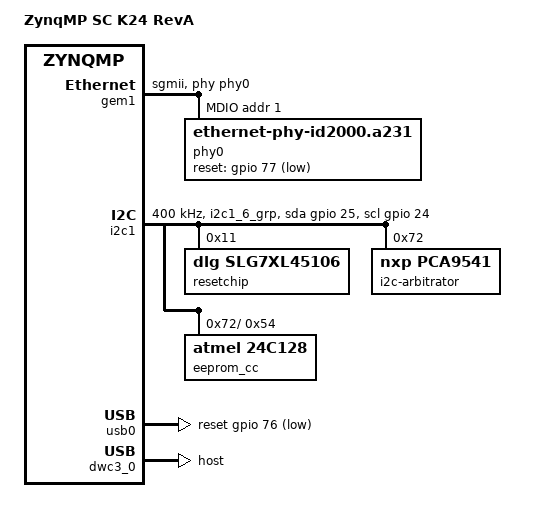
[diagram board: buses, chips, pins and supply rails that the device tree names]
// SPDX-License-Identifier: GPL-2.0
/*
 * dts file for Xilinx ZynqMP SC k24 RevA
 *
 * (C) Copyright 2020 - 2021, Xilinx, Inc.
 * (C) Copyright 2023 - 2024, Advanced Micro Devices, Inc.
 *
 * Michal Simek <michal.simek@amd.com>
 */

#include <dt-bindings/net/ti-dp83867.h>
#include "zynqmp-sm-k24-revA.dts"

/delete-node/ &optee;
/delete-node/ &eeprom_cc;

/ {
	model = "ZynqMP SC K24 RevA";
	compatible = "xlnx,zynqmp-sc-k24-revA", "xlnx,zynqmp-sc-k24",
		     "xlnx,zynqmp";

	aliases {
		nvmem1 = &eeprom_cc;
	};
};

&pwm_fan {
	pwms = <&ttc0 0 40000 0>;
};

&gem1 { /* MDIO MIO50/51 */
	status = "okay";
	phy-mode = "sgmii";
	phy-handle = <&phy0>;

	mdio: mdio {
		#address-cells = <1>;
		#size-cells = <0>;

		phy0: ethernet-phy@1 {
			#phy-cells = <1>;
			compatible = "ethernet-phy-id2000.a231";
			reg = <1>;
			ti,dp83867-rxctrl-strap-quirk;
			reset-gpios = <&gpio 77 GPIO_ACTIVE_LOW>;
			reset-assert-us = <2500>;
			reset-deassert-us = <500>;
		};
	};
};

/* i2c via PL */
/* u192 0x10 SLG7XL46528 */
/* u195 0x69 SIT95211 */

&i2c1 {
	status = "okay";
	bootph-all;
	clock-frequency = <400000>;
	pinctrl-names = "default", "gpio";
	pinctrl-0 = <&pinctrl_i2c1_default>;
	pinctrl-1 = <&pinctrl_i2c1_gpio>;
	scl-gpios = <&gpio 24 (GPIO_ACTIVE_HIGH | GPIO_OPEN_DRAIN)>;
	sda-gpios = <&gpio 25 (GPIO_ACTIVE_HIGH | GPIO_OPEN_DRAIN)>;

	slg7xl45106: gpio@11 { /* u169 - reset logic */
		compatible = "dlg,slg7xl45106";
		reg = <0x11>;
		label = "resetchip";
		gpio-controller;
		#gpio-cells = <2>;
		gpio-line-names = "USB_PHY_RESET_B", "SC_PS_RESET_OUT2",
				  "SC_PS_RESET_OUT3", "SC_PS_RESET_OUT4",
				  "SC_PS_RESET_OUT5",
				  "EEPROM_WC_B", "PS_ETH_RST_B";
	};

	i2c-arbitrator@72 { /* u161 */
		compatible = "nxp,pca9541";
		#address-cells = <1>;
		#size-cells = <0>;
		bootph-all;
		reg = <0x72>;

		i2c_arb: i2c-arb {
			#address-cells = <1>;
			#size-cells = <0>;
			eeprom_cc: eeprom@54 { /* u35 - required by spec - also at address 0x5C */
				compatible = "atmel,24c128";
				label = "eeprom_cc";
				reg = <0x54>;
				bootph-all;
			};
		};
	};
};

&gpio {
	status = "okay";
	gpio-line-names =
		/*   0 -   4 */ "QSPI_CLK", "QSPI_DQ1", "QSPI_DQ2", "QSPI_DQ3", "QSPI_DQ0",
		/*   5 -   9 */ "QSPI_CS_B", "SPI_CLK", "LED1", "LED2", "SPI_CS_B",
		/*  10 -  14 */ "SPI_MISO", "SPI_MOSI", "FWUEN", "EMMC_DAT0", "EMMC_DAT1",
		/*  15 -  19 */ "EMMC_DAT2", "EMMC_DAT3", "EMMC_DAT4", "EMMC_DAT5", "EMMC_DAT6",
		/*  20 -  24 */ "EMMC_DAT7", "EMMC_CMD", "EMMC_CLK", "EMMC_RST", "I2C1_SCL",
		/*  25 -  29 */ "I2C1_SDA", "SYSCTLR_JTAG_S0", "SYSCTLR_JTAG_S1", "VERSAL_ERROR_OUT_LS", "VERSAL_DONE",
		/*  30 -  34 */ "SYSCTLR_POR_B_LS", "SHUTDOWN", "FPD_PWR_EN", "PL_PWR_EN", "PS_PWR_EN",
		/*  35 -  39 */ "PMU_RST", "UART1_TXD", "UART1_RXD", "SYSCTLR_VERSAL_MODE0", "SYSCTLR_VERSAL_MODE1",
		/*  40 -  44 */ "SYSCTLR_VERSAL_MODE2", "SYSCTLR_VERSAL_MODE3", "SYSCTLR_VERSAL_MODE0_READBACK", "SYSCTLR_VERSAL_MODE1_READBACK", "SYSCTLR_VERSAL_MODE2_READBACK",
		/*  45 -  49 */ "SYSCTLR_VERSAL_MODE3_READBACK", "SYSCTLR_VERSAL_POR_B_READBACK", "FAN_PWM", "UART_MUXSEL0", "UART_MUXSEL1",
		/*  50 -  54 */ "GEM_MDC", "GEM_MDIO", "USB0_CLK", "USB0_DIR", "USB0_DATA2",
		/*  55 -  59 */ "USB0_NXT", "USB0_DATA0", "USB0_DATA1", "USB0_STP", "USB0_DATA3",
		/*  60 -  64 */ "USB0_DATA4", "USB0_DATA5", "USB0_DATA6", "USB0_DATA7", "",
		/*  65 -  69 */ "I2C0_SW_SEL", "I2C0_SCL", "I2C0_SDA", "I2C0_ALERT", "I2C1_ALERT",
		/*  70 -  74 */ "UART0_TXD", "UART0_RXD", "I2C1_SW_INT_B", "I2C0I2C1_SW_INT_BI2C1_SW_INT_B_SW_INT_B", "SYSCTLR_IIC_MUX0_RESET_B",
		/*  75 -  77 */ "SYSCTLR_IIC_MUX1_RESET_B", "USB_RESET_B", "ETH_RESET_B",
		/* MIO end and EMIO start */
		/*  78 -  79 */ "", "",
		/*  80 -  84 */ "", "", "", "", "",
		/*  85 -  89 */ "", "", "", "", "",
		/*  90 -  94 */ "", "", "", "", "",
		/*  95 -  99 */ "", "", "", "", "",
		/* 100 - 104 */ "", "", "", "", "",
		/* 105 - 109 */ "", "", "", "", "",
		/* 110 - 114 */ "", "", "", "", "",
		/* 115 - 119 */ "", "", "", "", "",
		/* 120 - 124 */ "", "", "", "", "",
		/* 125 - 129 */ "", "", "", "", "",
		/* 130 - 134 */ "", "", "", "", "",
		/* 135 - 139 */ "", "", "", "", "",
		/* 140 - 144 */ "", "", "", "", "",
		/* 145 - 149 */ "", "", "", "", "",
		/* 150 - 154 */ "", "", "", "", "",
		/* 155 - 159 */ "", "", "", "", "",
		/* 160 - 164 */ "", "", "", "", "",
		/* 165 - 169 */ "", "", "", "", "",
		/* 170 - 173 */ "", "", "", "";
};

&usb0 { /* mio52 - mio63 */
	status = "okay";
	reset-gpios = <&gpio 76 GPIO_ACTIVE_LOW>;
};

&dwc3_0 {
	status = "okay";
	dr_mode = "host";
	snps,usb3_lpm_capable;
	maximum-speed = "super-speed";
};

&pinctrl0 {
	status = "okay";
	pinctrl_i2c1_default: i2c1-default {
		conf {
			groups = "i2c1_6_grp";
			bias-pull-up;
			slew-rate = <SLEW_RATE_SLOW>;
			power-source = <IO_STANDARD_LVCMOS18>;
		};

		mux {
			groups = "i2c1_6_grp";
			function = "i2c1";
		};
	};

	pinctrl_i2c1_gpio: i2c1-gpio-grp {
		conf {
			groups = "gpio0_24_grp", "gpio0_25_grp";
			slew-rate = <SLEW_RATE_SLOW>;
			power-source = <IO_STANDARD_LVCMOS18>;
		};

		mux {
			groups = "gpio0_24_grp", "gpio0_25_grp";
			function = "gpio0";
		};
	};
};
